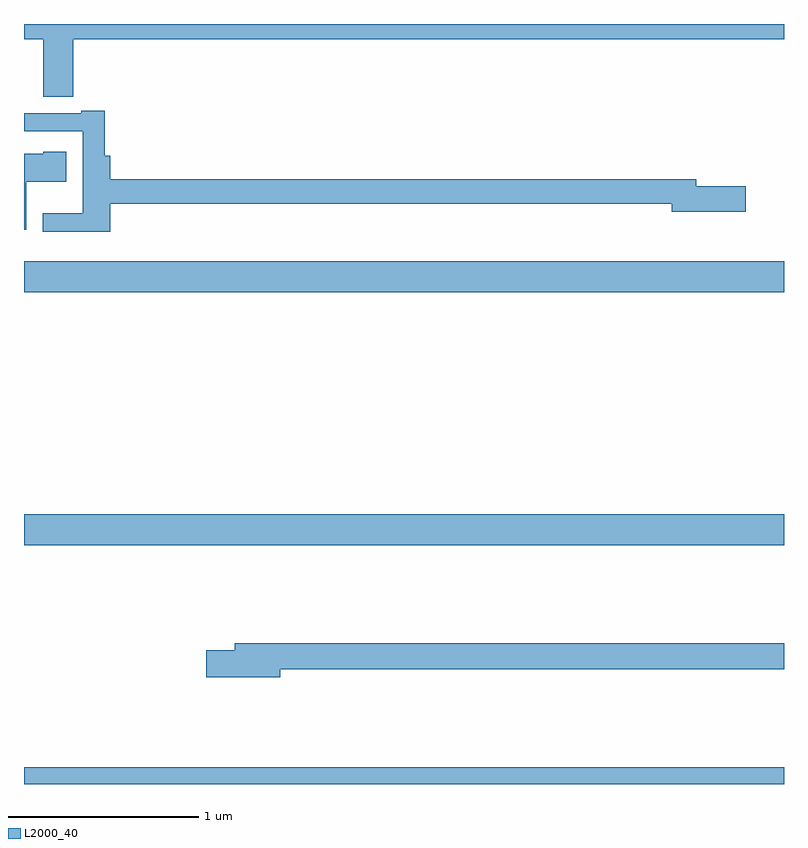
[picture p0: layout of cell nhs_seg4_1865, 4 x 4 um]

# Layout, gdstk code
import gdstk
lib = gdstk.Library(unit=1e-6, precision=1e-09)
def R(c, l, rs):  # rectangles x0, y0, x1, y1
    for r in rs: c.add(gdstk.rectangle(r[:2], r[2:], *l))
def P(c, l, *ps):  # polygons
    for p in ps: c.add(gdstk.Polygon(p, *l))
L2000_40 = (2000, 40)

nhs_seg4_1865 = lib.new_cell('nhs_seg4_1865')
R(nhs_seg4_1865, L2000_40, [(207,792.9,211,792.988), (207,794.156,211,794.32), (207,795.488,211,795.652)])
P(nhs_seg4_1865, L2000_40, [(207.26,796.82),(211,796.82),(211,796.9),(207,796.9),(207,796.82),(207.1,796.82),(207.1,796.516),(207.26,796.516)],
  [(207.455,795.954),(210.41,795.954),(210.41,795.911),(210.799,795.911),(210.799,796.046),(210.538,796.046),(210.538,796.082),(207.455,796.082),(207.455,796.207),(207.425,796.207),(207.425,796.444),(207.302,796.444),(207.302,796.431),(207,796.431),(207,796.335),(207.309,796.335),(207.309,796.103),(207.308,796.103),(207.308,795.904),(207.099,795.904),(207.099,795.806),(207.455,795.806)],
  [(207.013,796.07),(207.223,796.07),(207.223,796.228),(207.102,796.228),(207.102,796.216),(207,796.216),(207,795.816),(207.013,795.816)],
  [(208.348,793.504),(211,793.504),(211,793.64),(208.109,793.64),(208.109,793.604),(207.96,793.604),(207.96,793.462),(208.348,793.462)])

lib.write_gds('nhs_seg4_1865.gds')
